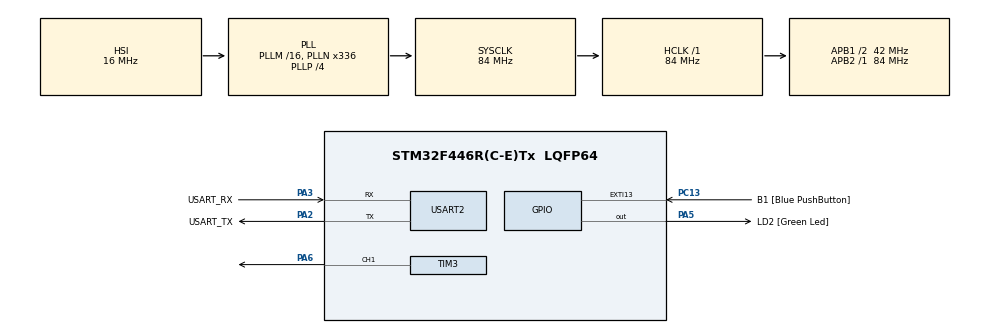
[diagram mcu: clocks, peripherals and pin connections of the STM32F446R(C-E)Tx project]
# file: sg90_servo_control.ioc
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Mcu.Family=STM32F4
Mcu.Name=STM32F446R(C-E)Tx
Mcu.Package=LQFP64
NVIC.PriorityGroup=NVIC_PRIORITYGROUP_0
PA13.GPIO_Label=TMS
PA13.Mode=Serial_Wire
PA13.Signal=SYS_JTMS-SWDIO
PA14.GPIO_Label=TCK
PA14.Mode=Serial_Wire
PA14.Signal=SYS_JTCK-SWCLK
PA2.GPIO_Label=USART_TX
PA2.Mode=Asynchronous
PA2.Signal=USART2_TX
PA3.GPIO_Label=USART_RX
PA3.Mode=Asynchronous
PA3.Signal=USART2_RX
PA5.GPIO_Label=LD2 [Green Led]
PA5.Signal=GPIO_Output
PA6.Signal=S_TIM3_CH1
PB3.GPIO_Label=SWO
PB3.Signal=SYS_JTDO-SWO
PC13.GPIO_Label=B1 [Blue PushButton]
PC13.GPIO_ModeDefaultEXTI=GPIO_MODE_IT_FALLING
PC13.Signal=GPXTI13
PC14-OSC32_IN.Mode=LSE-External-Oscillator
PC14-OSC32_IN.Signal=RCC_OSC32_IN
PC15-OSC32_OUT.Mode=LSE-External-Oscillator
PC15-OSC32_OUT.Signal=RCC_OSC32_OUT
PH0-OSC_IN.Mode=HSE-External-Oscillator
PH0-OSC_IN.Signal=RCC_OSC_IN
PH1-OSC_OUT.Mode=HSE-External-Oscillator
PH1-OSC_OUT.Signal=RCC_OSC_OUT
ProjectManager.HeapSize=0x200
ProjectManager.StackSize=0x400
ProjectManager.TargetToolchain=STM32CubeIDE
RCC.48MHZClocksFreq_Value=84000000
RCC.AHBFreq_Value=84000000
RCC.APB1CLKDivider=RCC_HCLK_DIV2
RCC.APB1Freq_Value=42000000
RCC.APB1TimFreq_Value=84000000
RCC.APB2Freq_Value=84000000
RCC.APB2TimFreq_Value=84000000
RCC.CortexFreq_Value=84000000
RCC.FLatency-AdvancedSettings=FLASH_LATENCY_2
RCC.HCLKFreq_Value=84000000
RCC.HSE_VALUE=8000000
RCC.HSI_VALUE=16000000
RCC.PLLN=336
RCC.PLLP=RCC_PLLP_DIV4
RCC.SYSCLKFreq_VALUE=84000000
RCC.SYSCLKSource=RCC_SYSCLKSOURCE_PLLCLK
RCC.USBFreq_Value=168000000
RCC.VCOOutputFreq_Value=336000000
SH.S_TIM3_CH1.0=TIM3_CH1,PWM Generation1 CH1
TIM3.Channel-PWM\ Generation1\ CH1=TIM_CHANNEL_1
TIM3.Period=19999
TIM3.Prescaler=83
TIM3.Pulse-PWM\ Generation1\ CH1=1500
USART2.VirtualMode=VM_ASYNC
board=NUCLEO-F446RE

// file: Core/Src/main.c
/* USER CODE BEGIN Header */
/**
  ******************************************************************************
  * @file           : main.c
  * @brief          : Main program body
  ******************************************************************************
  * @attention
  *
  * Copyright (c) 2026 STMicroelectronics.
  * All rights reserved.
  *
  * This software is licensed under terms that can be found in the LICENSE file
  * in the root directory of this software component.
  * If no LICENSE file comes with this software, it is provided AS-IS.
  *
  ******************************************************************************
  */
/* USER CODE END Header */
#include "main.h"

/* USER CODE BEGIN Includes */
#include <stdint.h>
/* USER CODE END Includes */

TIM_HandleTypeDef htim3;

UART_HandleTypeDef huart2;

void SystemClock_Config(void);
static void MX_GPIO_Init(void);
static void MX_USART2_UART_Init(void);
static void MX_TIM3_Init(void);

int main(void)
{

  /* MCU Configuration--------------------------------------------------------*/

  /* Reset of all peripherals, Initializes the Flash interface and the Systick. */
  HAL_Init();

  /* Configure the system clock */
  SystemClock_Config();

  /* Initialize all configured peripherals */
  MX_GPIO_Init();
  MX_USART2_UART_Init();
  MX_TIM3_Init();
  /* USER CODE BEGIN 2 */
  HAL_TIM_PWM_Start(&htim3, TIM_CHANNEL_1);

  typedef enum{
	  STATE1,
	  STATE2,
	  STATE3

  }pwm_state_t;

  pwm_state_t state = STATE1;
  uint32_t initial_time = HAL_GetTick();
  uint32_t current_time = HAL_GetTick();

  /* USER CODE END 2 */

  /* Infinite loop */
  while (1)
  {

    /* USER CODE BEGIN 3 */
	  uint16_t period = 1000;

	  current_time = HAL_GetTick();

	  if ((current_time - initial_time) >= period){
		  initial_time = current_time;
		  state++;
		  state = (state % 3);
	  }

	  switch (state){

	  	  case (STATE1):
				__HAL_TIM_SET_COMPARE(&htim3, TIM_CHANNEL_1, 1500);
	  	  	  	break;

	  	  case (STATE2):
			  __HAL_TIM_SET_COMPARE(&htim3, TIM_CHANNEL_1, 1700);
	  	  	  break;

	  	  case (STATE3):
		      __HAL_TIM_SET_COMPARE(&htim3, TIM_CHANNEL_1, 1300);
	  	  	  break;

	  }

  }
  /* USER CODE END 3 */
}

void SystemClock_Config(void)
{
  RCC_OscInitTypeDef RCC_OscInitStruct = {0};
  RCC_ClkInitTypeDef RCC_ClkInitStruct = {0};

  /** Configure the main internal regulator output voltage
  */
  __HAL_RCC_PWR_CLK_ENABLE();
  __HAL_PWR_VOLTAGESCALING_CONFIG(PWR_REGULATOR_VOLTAGE_SCALE3);

  /** Initializes the RCC Oscillators according to the specified parameters
  * in the RCC_OscInitTypeDef structure.
  */
  RCC_OscInitStruct.OscillatorType = RCC_OSCILLATORTYPE_HSI;
  RCC_OscInitStruct.HSIState = RCC_HSI_ON;
  RCC_OscInitStruct.HSICalibrationValue = RCC_HSICALIBRATION_DEFAULT;
  RCC_OscInitStruct.PLL.PLLState = RCC_PLL_ON;
  RCC_OscInitStruct.PLL.PLLSource = RCC_PLLSOURCE_HSI;
  RCC_OscInitStruct.PLL.PLLM = 16;
  RCC_OscInitStruct.PLL.PLLN = 336;
  RCC_OscInitStruct.PLL.PLLP = RCC_PLLP_DIV4;
  RCC_OscInitStruct.PLL.PLLQ = 2;
  RCC_OscInitStruct.PLL.PLLR = 2;
  if (HAL_RCC_OscConfig(&RCC_OscInitStruct) != HAL_OK)
  {
    Error_Handler();
  }

  /** Initializes the CPU, AHB and APB buses clocks
  */
  RCC_ClkInitStruct.ClockType = RCC_CLOCKTYPE_HCLK|RCC_CLOCKTYPE_SYSCLK
                              |RCC_CLOCKTYPE_PCLK1|RCC_CLOCKTYPE_PCLK2;
  RCC_ClkInitStruct.SYSCLKSource = RCC_SYSCLKSOURCE_PLLCLK;
  RCC_ClkInitStruct.AHBCLKDivider = RCC_SYSCLK_DIV1;
  RCC_ClkInitStruct.APB1CLKDivider = RCC_HCLK_DIV2;
  RCC_ClkInitStruct.APB2CLKDivider = RCC_HCLK_DIV1;

  if (HAL_RCC_ClockConfig(&RCC_ClkInitStruct, FLASH_LATENCY_2) != HAL_OK)
  {
    Error_Handler();
  }
}

static void MX_TIM3_Init(void)
{

  TIM_MasterConfigTypeDef sMasterConfig = {0};
  TIM_OC_InitTypeDef sConfigOC = {0};

  htim3.Instance = TIM3;
  htim3.Init.Prescaler = 83;
  htim3.Init.CounterMode = TIM_COUNTERMODE_UP;
  htim3.Init.Period = 19999;
  htim3.Init.ClockDivision = TIM_CLOCKDIVISION_DIV1;
  htim3.Init.AutoReloadPreload = TIM_AUTORELOAD_PRELOAD_DISABLE;
  if (HAL_TIM_PWM_Init(&htim3) != HAL_OK)
  {
    Error_Handler();
  }
  sMasterConfig.MasterOutputTrigger = TIM_TRGO_RESET;
  sMasterConfig.MasterSlaveMode = TIM_MASTERSLAVEMODE_DISABLE;
  if (HAL_TIMEx_MasterConfigSynchronization(&htim3, &sMasterConfig) != HAL_OK)
  {
    Error_Handler();
  }
  sConfigOC.OCMode = TIM_OCMODE_PWM1;
  sConfigOC.Pulse = 1500;
  sConfigOC.OCPolarity = TIM_OCPOLARITY_HIGH;
  sConfigOC.OCFastMode = TIM_OCFAST_DISABLE;
  if (HAL_TIM_PWM_ConfigChannel(&htim3, &sConfigOC, TIM_CHANNEL_1) != HAL_OK)
  {
    Error_Handler();
  }
  HAL_TIM_MspPostInit(&htim3);

}

static void MX_USART2_UART_Init(void)
{

  huart2.Instance = USART2;
  huart2.Init.BaudRate = 115200;
  huart2.Init.WordLength = UART_WORDLENGTH_8B;
  huart2.Init.StopBits = UART_STOPBITS_1;
  huart2.Init.Parity = UART_PARITY_NONE;
  huart2.Init.Mode = UART_MODE_TX_RX;
  huart2.Init.HwFlowCtl = UART_HWCONTROL_NONE;
  huart2.Init.OverSampling = UART_OVERSAMPLING_16;
  if (HAL_UART_Init(&huart2) != HAL_OK)
  {
    Error_Handler();
  }

}

static void MX_GPIO_Init(void)
{
  GPIO_InitTypeDef GPIO_InitStruct = {0};

  /* GPIO Ports Clock Enable */
  __HAL_RCC_GPIOC_CLK_ENABLE();
  __HAL_RCC_GPIOH_CLK_ENABLE();
  __HAL_RCC_GPIOA_CLK_ENABLE();
  __HAL_RCC_GPIOB_CLK_ENABLE();

  /*Configure GPIO pin Output Level */
  HAL_GPIO_WritePin(LD2_GPIO_Port, LD2_Pin, GPIO_PIN_RESET);

  /*Configure GPIO pin : B1_Pin */
  GPIO_InitStruct.Pin = B1_Pin;
  GPIO_InitStruct.Mode = GPIO_MODE_IT_FALLING;
  GPIO_InitStruct.Pull = GPIO_NOPULL;
  HAL_GPIO_Init(B1_GPIO_Port, &GPIO_InitStruct);

  /*Configure GPIO pin : LD2_Pin */
  GPIO_InitStruct.Pin = LD2_Pin;
  GPIO_InitStruct.Mode = GPIO_MODE_OUTPUT_PP;
  GPIO_InitStruct.Pull = GPIO_NOPULL;
  GPIO_InitStruct.Speed = GPIO_SPEED_FREQ_LOW;
  HAL_GPIO_Init(LD2_GPIO_Port, &GPIO_InitStruct);

}

void Error_Handler(void)
{
  __disable_irq();
  while (1)
  {
  }
}
